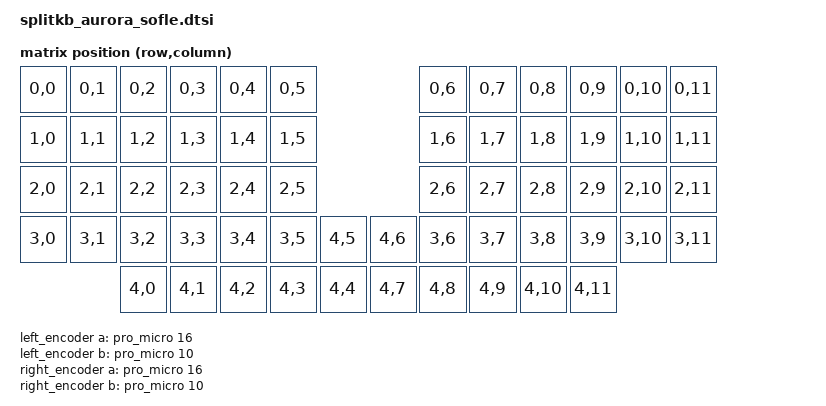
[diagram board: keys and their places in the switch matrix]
/*
 * Copyright (c) 2023 The ZMK Contributors
 *
 * SPDX-License-Identifier: MIT
 */

#include <dt-bindings/zmk/matrix_transform.h>

/ {

    chosen {
        zephyr,display = &oled;
        zmk,matrix-transform = &default_transform;
    };

    default_transform: keymap_transform_0 {
        compatible = "zmk,matrix-transform";
        columns = <14>;
        rows = <5>;
// | SW6  | SW5  | SW4  | SW3  | SW2  | SW1  |                 | SW1  | SW2  | SW3  | SW4  | SW5  | SW6  |
// | SW12 | SW11 | SW10 | SW9  | SW8  | SW7  |                 | SW7  | SW8  | SW9  | SW10 | SW11 | SW12 |
// | SW18 | SW17 | SW16 | SW15 | SW14 | SW13 |                 | SW13 | SW14 | SW15 | SW16 | SW17 | SW18 |
// | SW24 | SW23 | SW22 | SW21 | SW20 | SW19 | SW25 |   | SW25 | SW19 | SW20 | SW21 | SW22 | SW23 | SW24 |
//               | SW30 | SW29 | SW28 | SW27 | SW26 |   | SW26 | SW27 | SW28 | SW29 | SW30 |
        map = <
RC(0,0) RC(0,1) RC(0,2) RC(0,3) RC(0,4) RC(0,5)                 RC(0,6) RC(0,7) RC(0,8)  RC(0,9) RC(0,10) RC(0,11)
RC(1,0) RC(1,1) RC(1,2) RC(1,3) RC(1,4) RC(1,5)                 RC(1,6) RC(1,7) RC(1,8)  RC(1,9) RC(1,10) RC(1,11)
RC(2,0) RC(2,1) RC(2,2) RC(2,3) RC(2,4) RC(2,5)                 RC(2,6) RC(2,7) RC(2,8)  RC(2,9) RC(2,10) RC(2,11)
RC(3,0) RC(3,1) RC(3,2) RC(3,3) RC(3,4) RC(3,5) RC(4,5) RC(4,6) RC(3,6) RC(3,7) RC(3,8)  RC(3,9) RC(3,10) RC(3,11)
                RC(4,0) RC(4,1) RC(4,2) RC(4,3) RC(4,4) RC(4,7) RC(4,8) RC(4,9) RC(4,10) RC(4,11)
        >;
    };

    left_encoder: left_encoder {
        compatible = "alps,ec11";
        steps = <144>;
        status = "disabled";

        a-gpios = <&pro_micro 16 GPIO_PULL_UP>;
        b-gpios = <&pro_micro 10 GPIO_PULL_UP>;
    };

    right_encoder: right_encoder {
        compatible = "alps,ec11";
        steps = <144>;
        status = "disabled";

        a-gpios = <&pro_micro 16 GPIO_PULL_UP>;
        b-gpios = <&pro_micro 10 GPIO_PULL_UP>;
    };

    sensors: sensors {
        compatible = "zmk,keymap-sensors";
        sensors = <&left_encoder &right_encoder>;
        triggers-per-rotation = <36>;
    };
};

&pro_micro_i2c {
    status = "okay";

    oled: ssd1306@3c {
        compatible = "solomon,ssd1306fb";
        reg = <0x3c>;
        width = <128>;
        height = <32>;
        segment-offset = <0>;
        page-offset = <0>;
        display-offset = <0>;
        multiplex-ratio = <31>;
        segment-remap;
        com-invdir;
        com-sequential;
        inversion-on;
        prechargep = <0x22>;
    };
};
